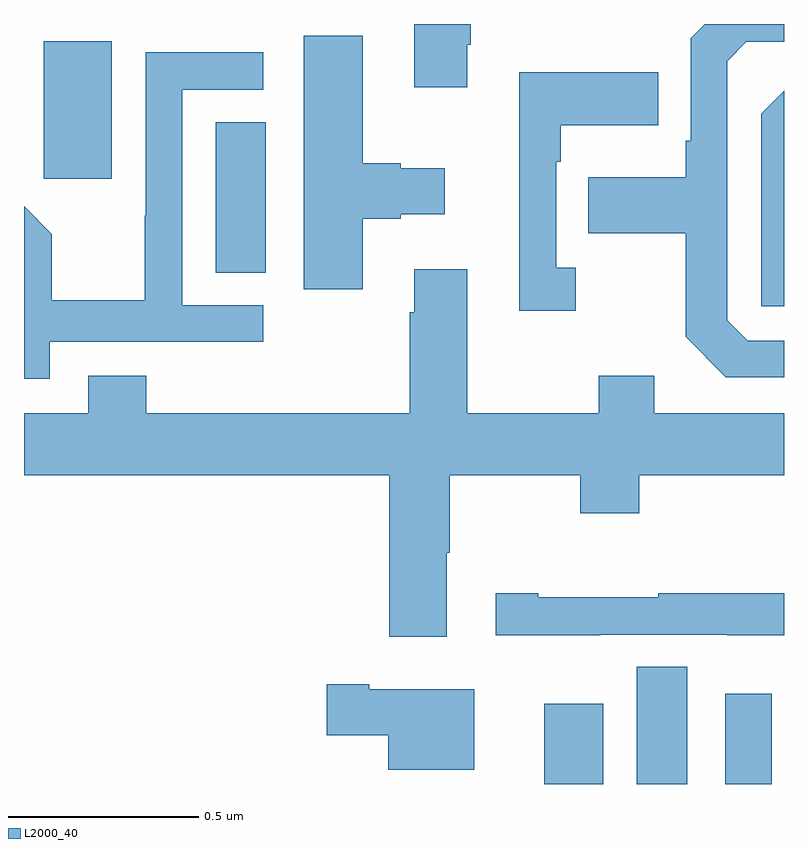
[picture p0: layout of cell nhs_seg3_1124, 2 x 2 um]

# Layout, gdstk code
import gdstk
lib = gdstk.Library(unit=1e-6, precision=1e-09)
def R(c, l, rs):  # rectangles x0, y0, x1, y1
    for r in rs: c.add(gdstk.rectangle(r[:2], r[2:], *l))
def P(c, l, *ps):  # polygons
    for p in ps: c.add(gdstk.Polygon(p, *l))
L2000_40 = (2000, 40)

nhs_seg3_1124 = lib.new_cell('nhs_seg3_1124')
R(nhs_seg3_1124, L2000_40, [(125.369,737.4,125.524,737.611), (125.612,737.4,125.746,737.708), (125.846,737.4,125.968,737.638), (124.505,738.745,124.636,739.142), (124.052,738.993,124.231,739.354)])
P(nhs_seg3_1124, L2000_40, [(126,738.567),(125.904,738.567),(125.85,738.621),(125.85,739.302),(125.901,739.353),(126,739.353),(126,739.4),(125.792,739.4),(125.754,739.362),(125.754,739.093),(125.742,739.093),(125.742,738.997),(125.485,738.997),(125.485,738.85),(125.742,738.85),(125.742,738.577),(125.847,738.471),(126,738.471)],
  [(125.167,739.345),(125.175,739.345),(125.175,739.4),(125.027,739.4),(125.027,739.233),(125.167,739.233)],
  [(124.891,738.887),(124.991,738.887),(124.991,738.899),(125.107,738.899),(125.107,739.021),(124.991,739.021),(124.991,739.034),(124.891,739.034),(124.891,739.369),(124.736,739.369),(124.736,738.702),(124.891,738.702)],
  [(124.068,738.564),(124.63,738.564),(124.63,738.66),(124.416,738.66),(124.416,739.227),(124.63,739.227),(124.63,739.326),(124.32,739.326),(124.32,738.896),(124.318,738.896),(124.318,738.673),(124.073,738.673),(124.073,738.847),(124,738.92),(124,738.467),(124.068,738.467)],
  [(125.452,738.758),(125.4,738.758),(125.4,739.037),(125.413,739.037),(125.413,739.133),(125.669,739.133),(125.669,739.273),(125.303,739.273),(125.303,738.645),(125.452,738.645)],
  [(126,739.224),(125.94,739.164),(125.94,738.657),(126,738.657)],
  [(125.113,738.008),(125.121,738.008),(125.121,738.212),(125.464,738.212),(125.464,738.113),(125.619,738.113),(125.619,738.212),(126,738.212),(126,738.376),(125.659,738.376),(125.659,738.475),(125.512,738.475),(125.512,738.376),(125.167,738.376),(125.167,738.754),(125.027,738.754),(125.027,738.641),(125.015,738.641),(125.015,738.376),(124.322,738.376),(124.322,738.475),(124.169,738.475),(124.169,738.376),(124,738.376),(124,738.212),(124.961,738.212),(124.961,737.787),(125.113,737.787)],
  [(125.516,737.793),(125.85,737.793),(125.85,737.792),(126,737.792),(126,737.902),(125.669,737.902),(125.669,737.892),(125.353,737.892),(125.353,737.902),(125.241,737.902),(125.241,737.792),(125.516,737.792)],
  [(125.185,737.65),(124.909,737.65),(124.909,737.663),(124.797,737.663),(124.797,737.528),(124.958,737.528),(124.958,737.438),(125.185,737.438)])

lib.write_gds('nhs_seg3_1124.gds')
